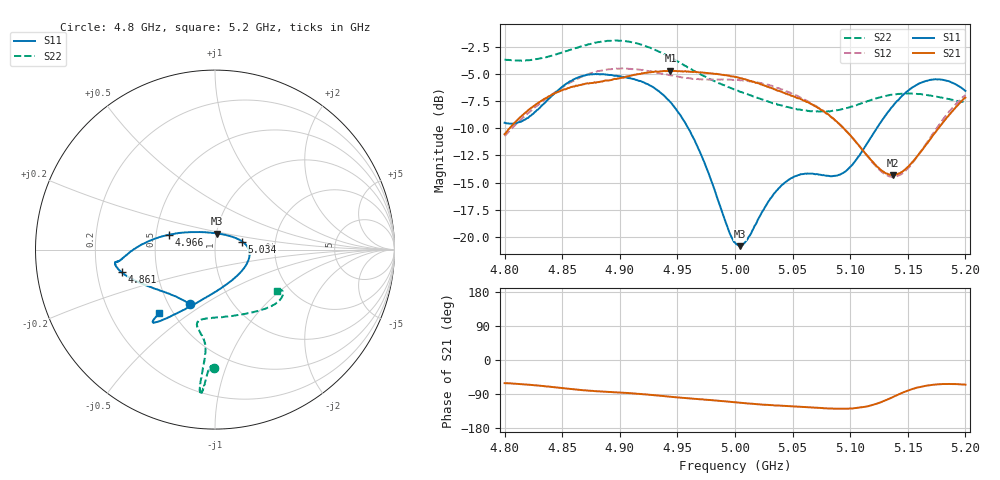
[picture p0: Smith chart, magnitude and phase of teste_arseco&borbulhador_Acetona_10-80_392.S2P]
! Network Analyzer HP8722D
! Hewlett-Packard
! Data name: Linha & Wilkinson
! Saver's name: Rodrigo Anjos
! Comments: Teste da utilização de aquisição
! continua pelo VNA HP8722D
! Time and date: 17/4/2025 17:37
!  Frequency  S11  S21  S12  S22
# HZ  S  MA R 50
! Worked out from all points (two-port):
!   401 points, 4.8 GHz to 5.2 GHz, reference 50 ohm
!   highest |S21| = -4.69 dB at 4.944 GHz (marker M1); lowest = -14.3 dB at 5.137 GHz (marker M2)
!   |S21| within 3 dB of the highest: 4.829 GHz to 5.065 GHz (236.2 MHz wide, 4.77 % of centre); 5.194773 GHz to end of sweep
!   lowest |S11| = -20.9 dB at 5.004 GHz (marker M3), VSWR 1.20, Z = 50.3 + j9.1 ohm
!   |S11| at or under -10 dB: 4.959 GHz to 5.123 GHz (163.5 MHz wide, 3.24 % of centre)
!   |S22| runs from -8.5 to -1.9 dB; largest |S21 - S12| = 0.87
!   S11 on the Smith chart (normalised r, x): 4.8 GHz: 0.64, -0.44; 4.861 GHz: 0.31, -0.11; 4.966 GHz: 0.58, +0.10; 5.034 GHz: 1.35, +0.12; 5.2 GHz: 0.42, -0.38
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4.8e9  0.3354 -114.5  0.2972 -61.1  0.291 -175.3  0.6571 -90.4
4.819e9  0.3511 -134.4  0.3768 -64.7  0.3663 -174.2  0.6523 -92.0
4.861e9  0.5353 -166.3  0.4935 -77.6  0.5283 -177.6  0.7399 -94.2
4.867e9  0.5508 -168.8  0.5027 -79.5  0.5467 -178.7  0.7559 -94.4
4.9e9  0.5492 -173.0  0.539 -85.9  0.5954 175.0  0.801 -95.9
4.934e9  0.4685 -178.9  0.5775 -94.1  0.5707 171.2  0.7131 -96.2
4.944e9  0.4172 176.7  0.5826 -96.9  0.5549 171.4  0.6719 -95.9
4.966e9  0.2706 162.3  0.575 -102.6  0.5358 173.2  0.5758 -95.3
5e9  0.09378 97.8  0.5453 -111.7  0.531 175.6  0.4768 -99.4
5.004e9  0.09042 82.7  0.5401 -112.7  0.5269 175.5  0.4672 -100.2
5.012e9  0.09998 55.6  0.5255 -114.8  0.5218 175.5  0.452 -101.9
5.034e9  0.1582 16.5  0.4789 -119.8  0.493 174.5  0.4128 -103.4
5.05e9  0.1873 0.9  0.4464 -122.3  0.4555 173.6  0.3913 -99.2
5.067e9  0.1956 -17.5  0.4074 -125.2  0.41 173.3  0.3793 -90.1
5.096e9  0.2002 -68.1  0.3092 -128.6  0.3094 174.5  0.391 -67.4
5.123e9  0.3164 -109.3  0.2112 -115.3  0.2099 -170.0  0.4353 -48.6
5.134e9  0.3826 -118.0  0.1934 -101.8  0.1896 -154.9  0.4498 -43.1
5.137e9  0.4001 -119.7  0.1923 -98.1  0.1889 -150.2  0.4524 -41.8
5.15e9  0.4705 -125.4  0.2095 -80.9  0.2064 -130.6  0.4578 -36.9
5.17e9  0.5294 -129.9  0.2839 -66.1  0.2893 -112.2  0.4477 -32.3
5.184e9  0.524 -131.1  0.3552 -63.4  0.3669 -107.7  0.4333 -31.4
5.2e9  0.4706 -131.2  0.4384 -65.1  0.4505 -107.1  0.4159 -33.7
